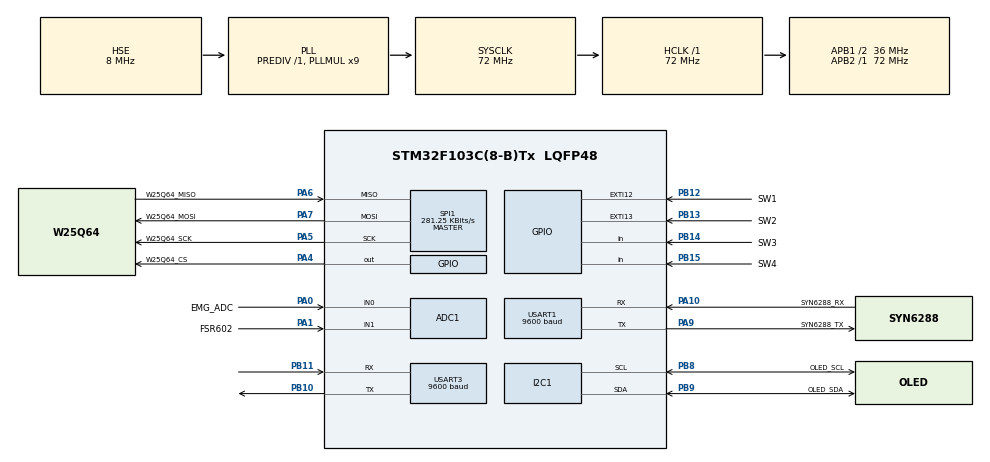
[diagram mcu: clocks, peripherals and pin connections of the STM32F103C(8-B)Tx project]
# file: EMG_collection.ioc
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ADC1.Channel-1\#ChannelRegularConversion=ADC_CHANNEL_0
ADC1.Channel-2\#ChannelRegularConversion=ADC_CHANNEL_1
ADC1.ContinuousConvMode=DISABLE
ADC1.ExternalTrigConv=ADC_EXTERNALTRIGCONV_T3_TRGO
ADC1.NbrOfConversion=2
ADC1.NbrOfConversionFlag=1
ADC1.Rank-1\#ChannelRegularConversion=1
ADC1.Rank-2\#ChannelRegularConversion=2
ADC1.SamplingTime-1\#ChannelRegularConversion=ADC_SAMPLETIME_71CYCLES_5
ADC1.SamplingTime-2\#ChannelRegularConversion=ADC_SAMPLETIME_71CYCLES_5
ADC1.master=1
Dma.ADC1.0.Direction=DMA_PERIPH_TO_MEMORY
Dma.ADC1.0.Instance=DMA1_Channel1
Dma.ADC1.0.MemDataAlignment=DMA_MDATAALIGN_HALFWORD
Dma.ADC1.0.MemInc=DMA_MINC_ENABLE
Dma.ADC1.0.Mode=DMA_CIRCULAR
Dma.ADC1.0.PeriphDataAlignment=DMA_PDATAALIGN_HALFWORD
Dma.ADC1.0.PeriphInc=DMA_PINC_DISABLE
Dma.ADC1.0.Priority=DMA_PRIORITY_HIGH
Dma.Request0=ADC1
Dma.Request1=SPI1_TX
Dma.Request2=SPI1_RX
Dma.SPI1_RX.2.Direction=DMA_PERIPH_TO_MEMORY
Dma.SPI1_RX.2.Instance=DMA1_Channel2
Dma.SPI1_RX.2.MemDataAlignment=DMA_MDATAALIGN_BYTE
Dma.SPI1_RX.2.MemInc=DMA_MINC_ENABLE
Dma.SPI1_RX.2.Mode=DMA_NORMAL
Dma.SPI1_RX.2.PeriphDataAlignment=DMA_PDATAALIGN_BYTE
Dma.SPI1_RX.2.PeriphInc=DMA_PINC_DISABLE
Dma.SPI1_RX.2.Priority=DMA_PRIORITY_LOW
Dma.SPI1_TX.1.Direction=DMA_MEMORY_TO_PERIPH
Dma.SPI1_TX.1.Instance=DMA1_Channel3
Dma.SPI1_TX.1.MemDataAlignment=DMA_MDATAALIGN_BYTE
Dma.SPI1_TX.1.MemInc=DMA_MINC_ENABLE
Dma.SPI1_TX.1.Mode=DMA_NORMAL
Dma.SPI1_TX.1.PeriphDataAlignment=DMA_PDATAALIGN_BYTE
Dma.SPI1_TX.1.PeriphInc=DMA_PINC_DISABLE
Dma.SPI1_TX.1.Priority=DMA_PRIORITY_MEDIUM
Mcu.Family=STM32F1
Mcu.Name=STM32F103C(8-B)Tx
Mcu.Package=LQFP48
NVIC.DMA1_Channel1_IRQn=true\:0\:0\:false\:false\:true\:false\:true\:true
NVIC.DMA1_Channel2_IRQn=true\:6\:0\:true\:false\:true\:false\:true\:true
NVIC.DMA1_Channel3_IRQn=true\:6\:0\:true\:false\:true\:false\:true\:true
NVIC.EXTI15_10_IRQn=true\:5\:0\:true\:false\:true\:true\:true\:true
NVIC.PriorityGroup=NVIC_PRIORITYGROUP_4
NVIC.TIM4_IRQn=true\:15\:0\:false\:false\:true\:false\:true\:true
NVIC.TimeBase=TIM4_IRQn
NVIC.TimeBaseIP=TIM4
NVIC.USART1_IRQn=true\:7\:0\:true\:false\:true\:false\:true\:true
PA0-WKUP.GPIO_Label=EMG_ADC
PA0-WKUP.Signal=ADCx_IN0
PA1.GPIO_Label=FSR602
PA1.Signal=ADCx_IN1
PA10.GPIO_Label=SYN6288_RX
PA10.Mode=Asynchronous
PA10.Signal=USART1_RX
PA13.Mode=Serial_Wire
PA13.Signal=SYS_JTMS-SWDIO
PA14.Mode=Serial_Wire
PA14.Signal=SYS_JTCK-SWCLK
PA4.GPIO_Label=W25Q64_CS
PA4.PinState=GPIO_PIN_SET
PA4.Signal=GPIO_Output
PA5.GPIO_Label=W25Q64_SCK
PA5.Mode=Full_Duplex_Master
PA5.Signal=SPI1_SCK
PA6.GPIO_Label=W25Q64_MISO
PA6.Mode=Full_Duplex_Master
PA6.Signal=SPI1_MISO
PA7.GPIO_Label=W25Q64_MOSI
PA7.Mode=Full_Duplex_Master
PA7.Signal=SPI1_MOSI
PA9.GPIO_Label=SYN6288_TX
PA9.Mode=Asynchronous
PA9.Signal=USART1_TX
PB10.Mode=Asynchronous
PB10.Signal=USART3_TX
PB11.Mode=Asynchronous
PB11.Signal=USART3_RX
PB12.GPIO_Label=SW1
PB12.GPIO_PuPd=GPIO_PULLUP
PB12.Signal=GPXTI12
PB13.GPIO_Label=SW2
PB13.GPIO_PuPd=GPIO_PULLUP
PB13.Signal=GPXTI13
PB14.GPIO_Label=SW3
PB14.GPIO_PuPd=GPIO_PULLUP
PB14.Signal=GPIO_Input
PB15.GPIO_Label=SW4
PB15.GPIO_PuPd=GPIO_PULLUP
PB15.Signal=GPIO_Input
PB8.GPIO_Label=OLED_SCL
PB8.Mode=I2C
PB8.Signal=I2C1_SCL
PB9.GPIO_Label=OLED_SDA
PB9.Mode=I2C
PB9.Signal=I2C1_SDA
PC14-OSC32_IN.Mode=LSE-External-Oscillator
PC14-OSC32_IN.Signal=RCC_OSC32_IN
PC15-OSC32_OUT.Mode=LSE-External-Oscillator
PC15-OSC32_OUT.Signal=RCC_OSC32_OUT
PD0-OSC_IN.Mode=HSE-External-Oscillator
PD0-OSC_IN.Signal=RCC_OSC_IN
PD1-OSC_OUT.Mode=HSE-External-Oscillator
PD1-OSC_OUT.Signal=RCC_OSC_OUT
ProjectManager.HeapSize=0x200
ProjectManager.StackSize=0x400
ProjectManager.TargetToolchain=MDK-ARM V5.32
RCC.ADCPresc=RCC_ADCPCLK2_DIV6
RCC.AHBFreq_Value=72000000
RCC.APB1CLKDivider=RCC_HCLK_DIV2
RCC.APB1Freq_Value=36000000
RCC.APB1TimFreq_Value=72000000
RCC.APB2Freq_Value=72000000
RCC.APB2TimFreq_Value=72000000
RCC.HCLKFreq_Value=72000000
RCC.PLLMUL=RCC_PLL_MUL9
RCC.PLLSourceVirtual=RCC_PLLSOURCE_HSE
RCC.SYSCLKFreq_VALUE=72000000
RCC.SYSCLKSource=RCC_SYSCLKSOURCE_PLLCLK
RCC.USBFreq_Value=72000000
SH.ADCx_IN0.0=ADC1_IN0,IN0
SH.ADCx_IN1.0=ADC1_IN1,IN1
SPI1.BaudRatePrescaler=SPI_BAUDRATEPRESCALER_256
SPI1.CalculateBaudRate=281.25 KBits/s
SPI1.Direction=SPI_DIRECTION_2LINES
SPI1.Mode=SPI_MODE_MASTER
SPI1.VirtualType=VM_MASTER
TIM3.AutoReloadPreload=TIM_AUTORELOAD_PRELOAD_ENABLE
TIM3.Period=999
TIM3.Prescaler=71
TIM3.TIM_MasterOutputTrigger=TIM_TRGO_UPDATE
USART1.BaudRate=9600
USART1.VirtualMode=VM_ASYNC
USART3.BaudRate=9600
USART3.VirtualMode=VM_ASYNC
VP_SYS_VS_tim4.Mode=TIM4
VP_TIM3_VS_ClockSourceINT.Mode=Internal
board=custom

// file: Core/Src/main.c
/* USER CODE BEGIN Header */
/**
  ******************************************************************************
  * @file           : main.c
  * @brief          : 基于STM32的肌肉发力检测系统 (终极商业版 - 双屏交互+持久化存储)
  * @version        : 7.0 (全量无删减版)
  ******************************************************************************
  */
/* USER CODE END Header */

#include "main.h"
#include "adc.h"
#include "dma.h"
#include "i2c.h"
#include "spi.h"
#include "tim.h"
#include "usart.h"
#include "gpio.h"

/* USER CODE BEGIN Includes */
#include "W25Q64.h"
#include "OLED.h"
#include "FSR_Sensor.h"
#include <stdio.h>
#include "string.h"
#include "syn6288.h"
#include "emg_algo.h"
/* USER CODE END Includes */

/* USER CODE BEGIN PV */

// ==============================================================================
// 硬件底层变量
// ==============================================================================
volatile uint16_t ADC_Values[2] = {0}; // 存ADC数据的数组：通道0是肌电，通道1是压力
extern UART_HandleTypeDef huart3;      // 串口3句柄，用来发送数据

// ==============================================================================
// 屏幕显示相关变量
// ==============================================================================
volatile uint8_t current_page = 0;       // 当前页面：0代表“实时检测页”，1代表“历史记录页”
volatile uint8_t action_key_pressed = 0; // 按键标志位（用来触发保存或翻页）
volatile uint8_t page_changed = 1;       // 刷新屏幕标志位（为1时重新画屏）

// ==============================================================================
// Flash存储相关变量
// ==============================================================================
uint32_t flash_save_address = 0x000000;  // 记录当前数据存到了Flash的哪个地址
uint32_t view_record_index = 0;          // 查看历史记录的索引，记录当前看到了第几条

/* USER CODE END PV */

void SystemClock_Config(void);

int main(void)
{

  /* MCU Configuration--------------------------------------------------------*/
  /* 初始化单片机 HAL 库 */
  HAL_Init();

  /* 配置系统时钟 (72MHz) */
  SystemClock_Config();

  /* 初始化各个外设 */
  MX_GPIO_Init();
  MX_DMA_Init();
  MX_ADC1_Init();
  MX_I2C1_Init();
  MX_SPI1_Init();
  MX_USART1_UART_Init();
  MX_USART3_UART_Init();
  MX_TIM3_Init();

  /* USER CODE BEGIN 2 */

  // 1. 初始化OLED屏幕，清屏并显示开机提示
  OLED_Init();
  OLED_Clear();
  OLED_ShowString(0, 0, "System Booting..", OLED_8X16);
  OLED_Update();

  // 2. 开启ADC校准，并启动DMA搬运ADC数据
  HAL_ADCEx_Calibration_Start(&hadc1);
  HAL_ADC_Start_DMA(&hadc1, (uint32_t*)ADC_Values, 2);
  HAL_TIM_Base_Start(&htim3);
  HAL_Delay(1000); // 等待1秒，让传感器和皮肤接触稳定一点

  // 3. 采集500个点，计算一下当前的基准底噪
  uint32_t dc_sum = 0;
  for(int i = 0; i < 500; i++) {
      dc_sum += ADC_Values[0];
      HAL_Delay(2);
  }

  // 4. 初始化传感器和算法，传入算好的底噪
  FSR_Init();
  EMG_Algo_Init(dc_sum / 500);

  // 5. 记录当前时间，准备每5ms跑一次处理逻辑
  uint32_t last_sample_tick = HAL_GetTick();

  /* USER CODE END 2 */

  /* Infinite loop */
  while (1)
  {

    /* USER CODE BEGIN 3 */
    uint32_t current_tick = HAL_GetTick();

    // =========================================================================
    // 后台数据处理：不管屏幕在显示什么，每5ms固定处理一次数据
    // =========================================================================
    if (current_tick - last_sample_tick >= 5) {
        last_sample_tick += 5; // 更新时间，保证严格的5ms间隔

        // --- 1. 处理压力传感器数据 ---
        FSR_Process(ADC_Values[1]);
        float force_value = FSR_Get_Force();

        // --- 2. 处理肌电算法算 FFT ---
        // (如果返回1，说明凑够了256个点，算完了一次频谱)
        uint8_t emg_fft_ready = EMG_Algo_Process(ADC_Values[0]);

        // --- 3. 计算“发力效率” (出力 / 肌电信号) ---
        float force_efficiency = 0.0f;
        // 只有确实出力了(大于50克)，才计算效率，防止除以0或数值乱跳
        if (EMG_Get_Envelope() > MIN_FORCE_FATIGUE && force_value > 50.0f) {
            force_efficiency = (force_value / (float)EMG_Get_Envelope()) * 10.0f;
        }

        // =====================================================================
        // 第 0 页 —— 实时监控界面
        // =====================================================================
        if (current_page == 0) {

            // --- 只有FFT刚算完，或者刚切到这个页面时，才刷新屏幕 ---
            if (emg_fft_ready == 1 || page_changed == 1) {
                page_changed = 0; // 清除换页标志

                char line1[24], line2[24], line3[24], line4[24];
                sprintf(line1, "Frc: %-4.0f g   ", force_value);        // 压力值
                sprintf(line2, "Eff: %.1f      ", force_efficiency);    // 发力效率
                sprintf(line3, "MF : %5.1f Hz  ", EMG_Get_MedianFreq()); // 肌电中值频率
                sprintf(line4, "Fat: %3.0f %%   ", EMG_Get_Fatigue());    // 疲劳度百分比

                OLED_Clear();
                OLED_ShowString(0, 0,  (uint8_t*)line1, OLED_8X16);
                OLED_ShowString(0, 16, (uint8_t*)line2, OLED_8X16);
                OLED_ShowString(0, 32, (uint8_t*)line3, OLED_8X16);
                OLED_ShowString(0, 48, (uint8_t*)line4, OLED_8X16);
                OLED_Update();
            }

            // --- 通过串口发给电脑端查看 ---
            printf("%lu,%.2f,%.1f\n", EMG_Get_Envelope(), EMG_Get_MedianFreq(), EMG_Get_Fatigue());

            // --- 语音报警逻辑 ---
            static uint32_t last_voice_tick = 0;
            if (current_tick - last_voice_tick > 5000) { // 限制5秒报一次，防止语音重叠
                if (EMG_Get_Fatigue() > 80.0f) {
                    SYN6288_Say("警告，肌肉已严重疲劳，请立即放松");
                    last_voice_tick = current_tick;
                }
                else if (force_value > 8000.0f) {
                    SYN6288_Say("警告，负荷过高，注意安全");
                    last_voice_tick = current_tick;
                }
                else if (EMG_Get_Envelope() > 100 && force_value > 1000.0f && force_efficiency < 1.5f) {
                    SYN6288_Say("发力效率偏低，请检查训练姿势");
                    last_voice_tick = current_tick;
                }
            }

            // --- 按下保存键的处理逻辑 ---
            if (action_key_pressed == 1) {
                action_key_pressed = 0; // 清除按键标志

                // 1. 把当前的数据格式化成一串字符
                char save_buf[128];
                sprintf(save_buf, "E:%lu F:%.0f MF:%.1f Fat:%.0f Eff:%.1f",
                        EMG_Get_Envelope(), force_value, EMG_Get_MedianFreq(),
                        EMG_Get_Fatigue(), force_efficiency);

                // 2. 擦除对应的Flash扇区，把字符串存进去
                W25Q64_SectorErase(flash_save_address);
                WriteByte(flash_save_address, (uint8_t*)save_buf, strlen(save_buf));

                // 3. 地址往后挪一个扇区(4096字节)，超限了就从头开始写
                flash_save_address += 4096;
                if(flash_save_address >= 0x800000) flash_save_address = 0;

                // 4. 屏幕和语音提示“保存成功”
                OLED_Clear();
                OLED_ShowString(16, 24, "Data Saved!", OLED_8X16);
                OLED_Update();
                SYN6288_Say("数据已保存");
                HAL_Delay(800);   // 画面停顿0.8秒让人看清
                page_changed = 1; // 标记一下，等会把实时画面刷新出来
            }
        }

        // =====================================================================
        // 第 1 页 —— 历史记录回看界面
        // =====================================================================
        else if (current_page == 1) {

            uint32_t total_records = flash_save_address / 4096; // 计算一下存了几条数据

            // --- 按下翻页键的处理逻辑 ---
            if (action_key_pressed == 1) {
                action_key_pressed = 0; // 清除按键标志
                view_record_index++;    // 看下一条记录
                if (view_record_index >= total_records) {
                    view_record_index = 0; // 翻到底了就回到第一条
                }
                page_changed = 1; // 标记需要刷新屏幕
            }
            // --- 读取Flash数据并显示 ---
            if (page_changed == 1) {
                page_changed = 0;
                OLED_Clear();

                if (total_records == 0) {
                    OLED_ShowString(0, 24, "No History Data", OLED_8X16);
                } else {
                    // 1. 显示当前是第几条记录
                    char title[24];
                    sprintf(title, "[Record %02lu/%02lu]", view_record_index + 1, total_records);
                    OLED_ShowString(0, 0, (uint8_t*)title, OLED_8X16);
                    // 2. 从Flash里读取存好的字符串
                    uint8_t read_buf[100] = {0};
                    ReadByte(view_record_index * 4096, read_buf, 60);

                    // 3. 把长字符串拆开显示
                    char display_l2[24] = {0};
                    char display_l3[24] = {0};
                    char display_l4[24] = {0};

                    // 用 sscanf 把字符串里的数值提取出来
                    uint32_t r_e; float r_f, r_mf, r_fat, r_eff;
                    sscanf((char*)read_buf, "E:%lu F:%f MF:%f Fat:%f Eff:%f", &r_e, &r_f, &r_mf, &r_fat, &r_eff);

                    // 重新排版以便在OLED上显示
                    sprintf(display_l2, "EMG:%lu F:%.0f", r_e, r_f);
                    sprintf(display_l3, "MF :%.1f Hz", r_mf);
                    sprintf(display_l4, "Fat:%.0f%% Ef:%.1f", r_fat, r_eff);

                    OLED_ShowString(0, 16, (uint8_t*)display_l2, OLED_8X16);
                    OLED_ShowString(0, 32, (uint8_t*)display_l3, OLED_8X16);
                    OLED_ShowString(0, 48, (uint8_t*)display_l4, OLED_8X16);
                }
                OLED_Update();
            }
        }
    }
    /* USER CODE END 3 */
  }
}

void SystemClock_Config(void)
{
  RCC_OscInitTypeDef RCC_OscInitStruct = {0};
  RCC_ClkInitTypeDef RCC_ClkInitStruct = {0};
  RCC_PeriphCLKInitTypeDef PeriphClkInit = {0};

  RCC_OscInitStruct.OscillatorType = RCC_OSCILLATORTYPE_HSE;
  RCC_OscInitStruct.HSEState = RCC_HSE_ON;
  RCC_OscInitStruct.HSEPredivValue = RCC_HSE_PREDIV_DIV1;
  RCC_OscInitStruct.HSIState = RCC_HSI_ON;
  RCC_OscInitStruct.PLL.PLLState = RCC_PLL_ON;
  RCC_OscInitStruct.PLL.PLLSource = RCC_PLLSOURCE_HSE;
  RCC_OscInitStruct.PLL.PLLMUL = RCC_PLL_MUL9;
  if (HAL_RCC_OscConfig(&RCC_OscInitStruct) != HAL_OK)
  {
    Error_Handler();
  }

  RCC_ClkInitStruct.ClockType = RCC_CLOCKTYPE_HCLK|RCC_CLOCKTYPE_SYSCLK
                              |RCC_CLOCKTYPE_PCLK1|RCC_CLOCKTYPE_PCLK2;
  RCC_ClkInitStruct.SYSCLKSource = RCC_SYSCLKSOURCE_PLLCLK;
  RCC_ClkInitStruct.AHBCLKDivider = RCC_SYSCLK_DIV1;
  RCC_ClkInitStruct.APB1CLKDivider = RCC_HCLK_DIV2;
  RCC_ClkInitStruct.APB2CLKDivider = RCC_HCLK_DIV1;

  if (HAL_RCC_ClockConfig(&RCC_ClkInitStruct, FLASH_LATENCY_2) != HAL_OK)
  {
    Error_Handler();
  }
  PeriphClkInit.PeriphClockSelection = RCC_PERIPHCLK_ADC;
  PeriphClkInit.AdcClockSelection = RCC_ADCPCLK2_DIV6;
  if (HAL_RCCEx_PeriphCLKConfig(&PeriphClkInit) != HAL_OK)
  {
    Error_Handler();
  }
}

/* USER CODE BEGIN 4 */
// ===========================================================================
// 串口重定向与外部按键中断
// ===========================================================================

// 串口重定向，让 printf 能直接发给串口3
#pragma import(__use_no_semihosting)
struct __FILE { int handle; };
FILE __stdout;
void _sys_exit(int x) { x = x; }
int fputc(int ch, FILE *f)
{
    HAL_UART_Transmit(&huart3, (uint8_t *)&ch, 1, HAL_MAX_DELAY);
    return ch;
}

// 外部中断回调函数，处理按键按下事件
void HAL_GPIO_EXTI_Callback(uint16_t GPIO_Pin)
{
    // --- 按键1：第0页保存，第1页翻页 ---
    if (GPIO_Pin == SW1_Pin) {
        action_key_pressed = 1;
    }

    // --- 按键2：切换页面（实时监测/历史记录） ---
    else if (GPIO_Pin == SW2_Pin) {
        current_page = !current_page;   // 切换 0 和 1
        page_changed = 1;               // 标记需要刷新屏幕
        if (current_page == 1) {
            view_record_index = 0;
        }
    }
}

/* USER CODE END 4 */

void HAL_TIM_PeriodElapsedCallback(TIM_HandleTypeDef *htim)
{
  if (htim->Instance == TIM4)
  {
    HAL_IncTick();
  }
}

void Error_Handler(void)
{
  __disable_irq();
  while (1)
  {
  }
}
